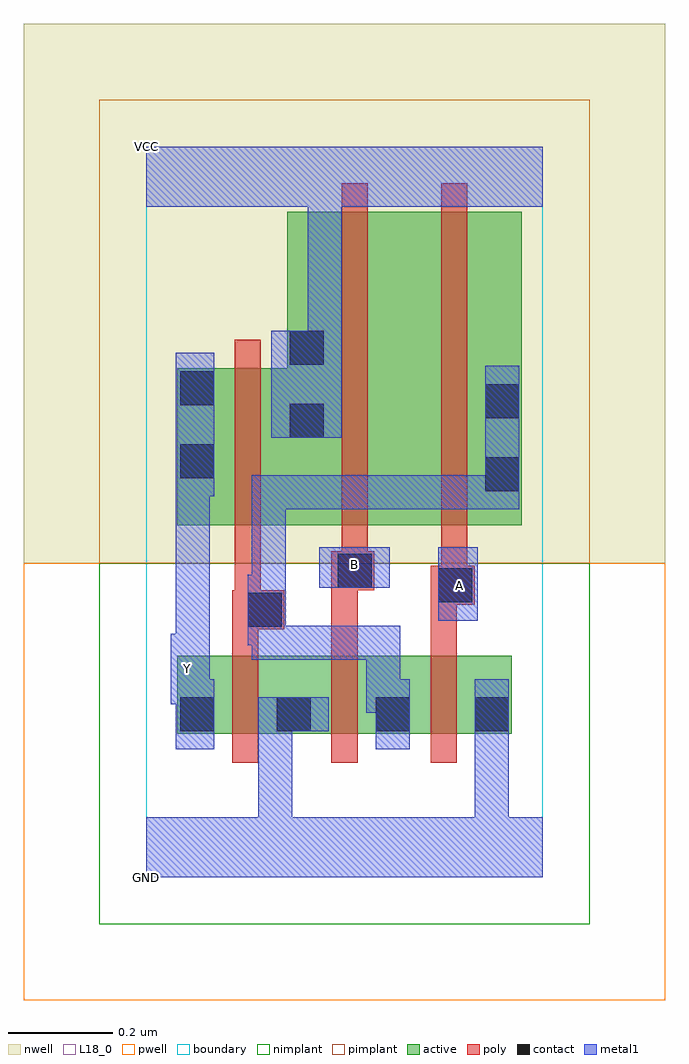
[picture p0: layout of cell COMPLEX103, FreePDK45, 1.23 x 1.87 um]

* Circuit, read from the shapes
.subckt COMPLEX103 A B GND VCC Y
M1 GND n1 Y VSUBS nfet w=0.15u l=0.05u
M2 n1 B GND VSUBS nfet w=0.15u l=0.05u
M3 GND A n1 VSUBS nfet w=0.15u l=0.05u
M4 VCC n1 Y n2 pfet w=0.3u l=0.05u
M5 n3 B VCC n2 pfet w=0.6u l=0.05u
M6 n1 A n3 n2 pfet w=0.6u l=0.05u
.ends

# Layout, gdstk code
import gdstk
lib = gdstk.Library(unit=1e-6, precision=1e-09)
def R(c, l, rs):  # rectangles x0, y0, x1, y1
    for r in rs: c.add(gdstk.rectangle(r[:2], r[2:], *l))
def A(c, l, x, y, w, h, nx, ny, dx, dy):  # array of equal rectangles
    R(c, l, [(x+i*dx, y+j*dy, x+i*dx+w, y+j*dy+h) for i in range(nx) for j in range(ny)])
active = (1, 0)
pwell = (2, 0)
nwell = (3, 0)
nimplant = (4, 0)
pimplant = (5, 0)
poly = (9, 0)
contact = (10, 0)
metal1 = (11, 0)
L18_0 = (18, 0)
boundary = (235, 0)

complex103 = lib.new_cell('COMPLEX103')
R(complex103, active, [(0.06,0.275,0.135,0.425), (0.06,0.275,0.32,0.425), (0.245,0.275,0.51,0.425), (0.245,0.275,0.32,0.397), (0.435,0.275,0.51,0.425), (0.435,0.275,0.7,0.425), (0.625,0.275,0.7,0.425), (0.06,0.675,0.345,0.975), (0.06,0.675,0.135,0.975), (0.27,0.675,0.495,1.275), (0.27,0.675,0.345,1.052), (0.495,0.675,0.72,1.275), (0.645,0.675,0.72,1.2)])
R(complex103, pwell, [(-0.235,-0.235,0.995,0.602)])
R(complex103, nwell, [(-0.235,0.602,0.995,1.635)])
R(complex103, nimplant, [(-0.09,-0.09,0.85,0.602)])
R(complex103, pimplant, [(-0.09,0.602,0.85,1.49)])
A(complex103, poly, 0.165, 0.22, 0.05, 0.26, 3, 1, 0.19, 0)
R(complex103, poly, [(0.165,0.43,0.215,0.525), (0.355,0.43,0.405,0.6), (0.545,0.43,0.595,0.572), (0.165,0.475,0.265,0.55), (0.17,0.5,0.22,0.67), (0.545,0.522,0.63,0.597), (0.565,0.547,0.615,0.67), (0.355,0.55,0.437,0.625), (0.375,0.575,0.425,0.67), (0.17,0.62,0.22,1.03), (0.375,0.62,0.425,1.33), (0.565,0.62,0.615,1.33)])
A(complex103, contact, 0.25, 0.28, 0.065, 0.065, 3, 1, 0.19, 0)
R(complex103, contact, [(0.065,0.28,0.13,0.345), (0.195,0.48,0.26,0.545), (0.56,0.527,0.625,0.592), (0.367,0.555,0.432,0.62), (0.65,0.74,0.715,0.805), (0.065,0.765,0.13,0.83), (0.275,0.842,0.34,0.907), (0.65,0.88,0.715,0.945), (0.065,0.905,0.13,0.97), (0.275,0.982,0.34,1.047)])
R(complex103, metal1, [(0,0,0.76,0.115), (0.215,0.05,0.28,0.115), (0.215,0.05,0.28,0.115), (0.215,0.05,0.28,0.115), (0.215,0.05,0.28,0.115), (0.215,0.05,0.28,0.345), (0.63,0.05,0.695,0.31), (0.057,0.245,0.13,0.38), (0.44,0.245,0.505,0.38), (0.63,0.245,0.695,0.31), (0.63,0.245,0.695,0.31), (0.63,0.245,0.695,0.31), (0.63,0.245,0.695,0.31), (0.63,0.245,0.695,0.38), (0.215,0.28,0.35,0.345), (0.057,0.315,0.122,0.397), (0.422,0.315,0.505,0.38), (0.422,0.315,0.487,0.482), (0.047,0.332,0.122,0.467), (0.057,0.402,0.122,0.795), (0.202,0.417,0.267,0.482), (0.202,0.417,0.487,0.482), (0.202,0.417,0.267,0.51), (0.195,0.445,0.26,0.58), (0.195,0.445,0.267,0.51), (0.202,0.445,0.267,0.51), (0.202,0.445,0.267,0.77), (0.56,0.492,0.635,0.632), (0.332,0.555,0.467,0.632), (0.202,0.705,0.267,0.77), (0.202,0.705,0.487,0.77), (0.422,0.705,0.487,0.77), (0.422,0.705,0.487,0.77), (0.422,0.705,0.487,0.77), (0.422,0.705,0.715,0.77), (0.65,0.705,0.715,0.77), (0.65,0.705,0.715,0.77), (0.65,0.705,0.715,0.98), (0.057,0.73,0.13,1.005), (0.24,0.842,0.375,1.047), (0.31,0.982,0.375,1.35), (0,1.285,0.76,1.4)])
R(complex103, L18_0, [(0,0,0.76,0.115), (0.215,0.05,0.28,0.115), (0.215,0.05,0.28,0.115), (0.215,0.05,0.28,0.115), (0.215,0.05,0.28,0.115), (0.215,0.05,0.28,0.345), (0.63,0.05,0.695,0.31), (0.057,0.245,0.13,0.38), (0.63,0.245,0.695,0.31), (0.63,0.245,0.695,0.31), (0.63,0.245,0.695,0.31), (0.63,0.245,0.695,0.31), (0.63,0.245,0.695,0.38), (0.215,0.28,0.35,0.345), (0.057,0.315,0.122,0.397), (0.047,0.332,0.122,0.467), (0.047,0.367,0.112,0.432), (0.057,0.402,0.122,0.795), (0.56,0.492,0.635,0.632), (0.567,0.527,0.632,0.592), (0.332,0.555,0.467,0.632), (0.367,0.567,0.432,0.632), (0.057,0.73,0.13,1.005), (0.24,0.842,0.375,1.047), (0.31,0.982,0.375,1.35), (0,1.285,0.76,1.4)])
R(complex103, boundary, [(0,0,0.76,1.4)])
complex103.add(gdstk.Label('A', (0.6,0.56), layer=11, texttype=0))
complex103.add(gdstk.Label('B', (0.4,0.6), layer=11, texttype=0))
complex103.add(gdstk.Label('Y', (0.08,0.4), layer=11, texttype=0))
complex103.add(gdstk.Label('VCC', (0,1.4), layer=11, texttype=0))
complex103.add(gdstk.Label('GND', (0,0), layer=11, texttype=0))

lib.write_gds('COMPLEX103.gds')
